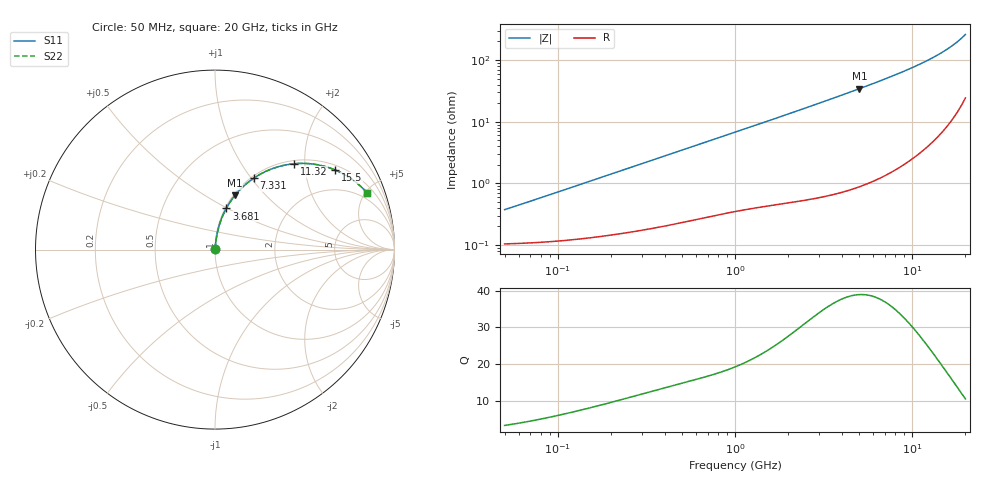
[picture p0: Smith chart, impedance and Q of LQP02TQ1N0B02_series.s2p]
!Murata Part Number: LQP02TQ1N0B02
!These Parameters are Measured in Series Mode Connection
!  o--[Z]--o
!Port1  Port2
!  o-------o
!Freq. Start=50[MHz] Stop=20[GHz], 401[Steps]
# Hz S RI R 50
!Freq.(Hz) S11(Real) S11(Imag) S21(Real) S21(Imag) S12(Real) S12(Imag) S22(Real) S22(Imag)
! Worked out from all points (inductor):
!   401 points, 50 MHz to 20 GHz, reference 50 ohm
!   read as one part in series: L = 1.14 nH near 51.52 MHz
!   highest Q = 38.9 at 5.041 GHz (marker M1), where L = 1.08 nH
!   S11 on the Smith chart (normalised r, x): 50 MHz: 1.00, +0.01; 3.681 GHz: 1.01, +0.49; 7.331 GHz: 1.03, +1.03; 11.32 GHz: 1.07, +1.77; 15.5 GHz: 1.16, +2.89; 20 GHz: 1.48, +5.16
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5e7  0.00106 0.0036  0.9989 -0.0036  0.9989 -0.0036  0.00106 0.0036
6.354076e7  0.00109 0.00456  0.9989 -0.00456  0.9989 -0.00456  0.00109 0.00456
1.364002e8  0.00136 0.00968  0.9986 -0.00968  0.9986 -0.00968  0.00136 0.00968
3.721004e8  0.00261 0.0257  0.9974 -0.0257  0.9974 -0.0257  0.00261 0.0257
6.380365e8  0.00456 0.0433  0.9954 -0.0433  0.9954 -0.0433  0.00456 0.0433
1e9  0.00796 0.0667  0.992 -0.0667  0.992 -0.0667  0.00796 0.0667
1.714689e9  0.0172 0.1119  0.9828 -0.1119  0.9828 -0.1119  0.0172 0.1119
2.728004e9  0.037 0.1741  0.963 -0.1741  0.963 -0.1741  0.037 0.1741
3.680849e9  0.0629 0.2296  0.9371 -0.2296  0.9371 -0.2296  0.0629 0.2296
5.041459e9  0.1111 0.3017  0.8889 -0.3017  0.8889 -0.3017  0.1111 0.3017
6.125241e9  0.1579 0.3518  0.8421 -0.3518  0.8421 -0.3518  0.1579 0.3518
7.331367e9  0.2169 0.3986  0.7831 -0.3986  0.7831 -0.3986  0.2169 0.3986
7.442007e9  0.2226 0.4024  0.7774 -0.4024  0.7774 -0.4024  0.2226 0.4024
9.178299e9  0.3173 0.4501  0.6827 -0.4501  0.6827 -0.4501  0.3173 0.4501
1.019291e10  0.3754 0.4677  0.6246 -0.4677  0.6246 -0.4677  0.3754 0.4677
1.131968e10  0.4408 0.4784  0.5592 -0.4784  0.5592 -0.4784  0.4408 0.4784
1.334722e10  0.556 0.4752  0.444 -0.4752  0.444 -0.4752  0.556 0.4752
1.438523e10  0.6119 0.4634  0.3881 -0.4634  0.3881 -0.4634  0.6119 0.4634
1.550395e10  0.6687 0.444  0.3313 -0.444  0.3313 -0.444  0.6687 0.444
1.747767e10  0.758 0.3956  0.242 -0.3956  0.242 -0.3956  0.758 0.3956
1.940974e10  0.8299 0.3349  0.1701 -0.3349  0.1701 -0.3349  0.8299 0.3349
2e10  0.8487 0.3145  0.1513 -0.3145  0.1513 -0.3145  0.8487 0.3145
